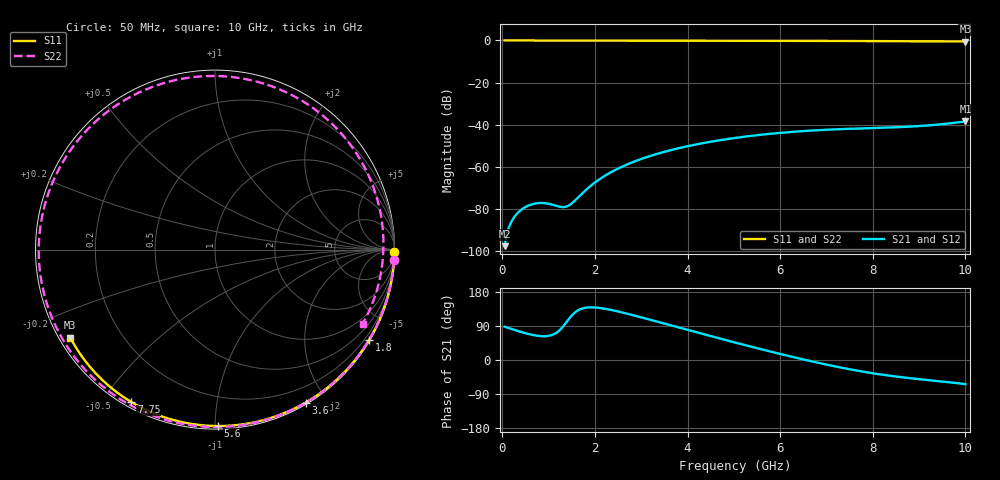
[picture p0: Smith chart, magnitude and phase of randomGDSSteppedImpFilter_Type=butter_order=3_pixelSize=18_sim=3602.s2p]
! freq	dB(S11)	phase(S11)	dB(S12)	phase(S12)
!  dB(S21)	phase(S21)	dB(S22)	phase(S22)
!S-par simulation data
#  GHz  S  DB  R 50
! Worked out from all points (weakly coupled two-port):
!   200 points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, 50 MHz to 10 GHz, reference 50 ohm
!   highest |S21| = -38.53 dB at 10 GHz (marker M1); lowest = -97.8 dB at 50 MHz (marker M2)
!   lowest |S11| = -0.5 dB at 10 GHz (marker M3), VSWR 34.59, Z = 1.56 - j14 ohm
!   |S11| at or under -10 dB: nowhere
!   |S22| runs from -0.7 to 0.0 dB; largest |S21 - S12| = 0
!   S11 on the Smith chart (normalised r, x): 50 MHz: open; 1.8 GHz: 0.03, -3.68; 3.6 GHz: 0.02, -1.76; 5.6 GHz: 0.02, -1.02; 7.75 GHz: 0.02, -0.59; 10 GHz: 0.03, -0.28
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0.05  -0.00 -0.9  -97.80 87.9  -97.80 87.9  -0.00 -3.4
0.45  -0.01 -7.7  -79.84 72.3  -79.84 72.3  -0.04 -29.6
0.65  -0.01 -11.1  -77.84 66.2  -77.84 66.2  -0.05 -42.2
0.9  -0.02 -15.3  -77.32 62.7  -77.32 62.7  -0.07 -57.3
1.35  -0.03 -22.9  -79.18 94.2  -79.18 94.2  -0.09 -82.4
1.5  -0.03 -25.4  -77.47 117.5  -77.47 117.5  -0.10 -90.1
1.75  -0.04 -29.6  -72.19 136.7  -72.19 136.7  -0.11 -102.2
1.8  -0.04 -30.4  -71.17 138.0  -71.17 138.0  -0.11 -104.5
2.15  -0.05 -36.2  -65.23 136.6  -65.23 136.6  -0.12 -119.9
2.6  -0.06 -43.5  -59.87 125.1  -59.87 125.1  -0.13 -137.8
3.4  -0.07 -56.2  -53.56 99.4  -53.56 99.4  -0.14 -165.8
3.6  -0.08 -59.3  -52.37 92.7  -52.37 92.7  -0.15 -172.2
4.3  -0.10 -70.0  -48.96 69.6  -48.96 69.6  -0.17 166.3
5.05  -0.12 -81.2  -46.29 45.3  -46.29 45.3  -0.20 144.0
5.6  -0.15 -89.1  -44.80 28.1  -44.80 28.1  -0.23 127.7
6.15  -0.17 -96.9  -43.66 11.6  -43.66 11.6  -0.25 111.1
6.7  -0.20 -104.5  -42.81 -4.1  -42.81 -4.1  -0.28 93.9
7.25  -0.24 -112.0  -42.21 -18.5  -42.21 -18.5  -0.32 76.0
7.75  -0.28 -118.7  -41.82 -29.9  -41.82 -29.9  -0.35 58.9
8.35  -0.33 -126.7  -41.40 -41.2  -41.40 -41.2  -0.41 37.4
9.2  -0.41 -138.0  -40.38 -53.0  -40.38 -53.0  -0.53 5.3
10  -0.50 -148.7  -38.53 -63.7  -38.53 -63.7  -0.72 -26.7
